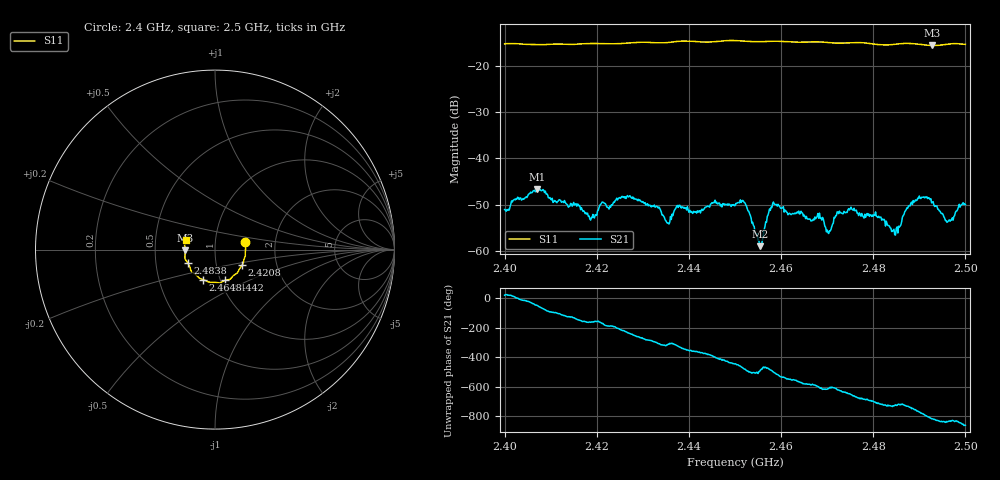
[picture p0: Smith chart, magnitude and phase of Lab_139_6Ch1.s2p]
# Hz S RI R 50
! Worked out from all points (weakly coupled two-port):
!   601 points, 2.4 GHz to 2.5 GHz, reference 50 ohm
!   highest |S21| = -46.66 dB at 2.407 GHz (marker M1); lowest = -59.0 dB at 2.4555 GHz (marker M2)
!   lowest |S11| = -15.6 dB at 2.4928 GHz (marker M3), VSWR 1.40, Z = 35.8 - j0.349 ohm
!   |S11| at or under -10 dB: start of sweep to end of sweep
!   S12 and S22 are empty: the file has one direction only
!   S11 on the Smith chart (normalised r, x): 2.4 GHz: 1.40, +0.12; 2.4208 GHz: 1.33, -0.24; 2.4442 GHz: 1.05, -0.37; 2.4648 GHz: 0.83, -0.29; 2.4838 GHz: 0.73, -0.11; 2.5 GHz: 0.72, +0.08
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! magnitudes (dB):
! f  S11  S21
! 2.4 GHz  -15.3  -51.1
! 2.407 GHz  -15.4  -46.7
! 2.4167 GHz  -15.2  -50.7
! 2.4208 GHz  -15.2  -49.9
! 2.4333 GHz  -15.0  -50.7
! 2.4353 GHz  -15.0  -54.0
! 2.4377 GHz  -14.7  -50.6
! 2.4442 GHz  -14.9  -50.3
! 2.45 GHz  -14.5  -50.2
! 2.4522 GHz  -14.7  -49.6
! 2.4555 GHz  -14.8  -59.0
! 2.4583 GHz  -14.7  -49.4
! 2.4648 GHz  -14.9  -52.5
! 2.4667 GHz  -14.8  -53.4
! 2.4703 GHz  -15.0  -56.2
! 2.4753 GHz  -15.0  -50.9
! 2.4833 GHz  -15.5  -54.5
! 2.4838 GHz  -15.4  -55.1
! 2.4895 GHz  -15.3  -49.0
! 2.4928 GHz  -15.6  -49.5
! 2.4962 GHz  -15.3  -53.7
! 2.5 GHz  -15.3  -50.0
